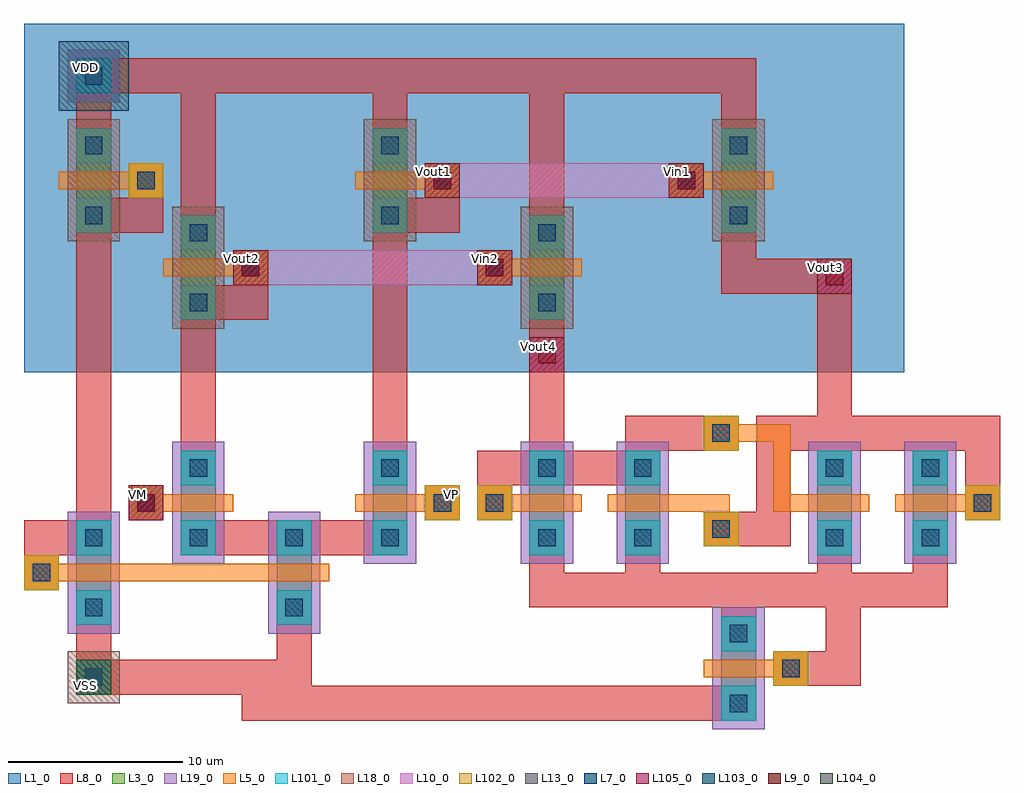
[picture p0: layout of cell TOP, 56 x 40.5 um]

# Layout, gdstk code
from math import pi, radians
import gdstk
lib = gdstk.Library(unit=1e-6, precision=1e-09)
def R(c, l, rs):  # rectangles x0, y0, x1, y1
    for r in rs: c.add(gdstk.rectangle(r[:2], r[2:], *l))
L1_0 = (1, 0)
L3_0 = (3, 0)
L5_0 = (5, 0)
L7_0 = (7, 0)
L8_0 = (8, 0)
L9_0 = (9, 0)
L10_0 = (10, 0)
L13_0 = (13, 0)
L18_0 = (18, 0)
L19_0 = (19, 0)
L101_0 = (101, 0)
L102_0 = (102, 0)
L103_0 = (103, 0)
L104_0 = (104, 0)
L105_0 = (105, 0)

pcont = lib.new_cell('pcont')
R(pcont, L5_0, [(-1,-1,1,1)])
R(pcont, L7_0, [(-0.5,-0.5,0.5,0.5)])
R(pcont, L8_0, [(-1,-1,1,1)])
R(pcont, L13_0, [(-0.5,-0.5,0.5,0.5)])
R(pcont, L102_0, [(-1,-1,1,1)])
pcont.add(gdstk.Label('pcont', (0,0), layer=13, texttype=0))

dcont = lib.new_cell('dcont')
R(dcont, L3_0, [(-1,-1,1,1)])
R(dcont, L7_0, [(-0.5,-0.5,0.5,0.5)])
R(dcont, L8_0, [(-1,-1,1,1)])
R(dcont, L13_0, [(-0.5,-0.5,0.5,0.5)])
R(dcont, L101_0, [(-1,-1,1,1)])
dcont.add(gdstk.Label('dcont', (0,0), layer=13, texttype=0))

psubcont = lib.new_cell('psubcont')
R(psubcont, L18_0, [(-1.5,-1.5,1.5,1.5)])
R(psubcont, L104_0, [(-1,-1,1,1)])
psubcont.add(gdstk.Reference(dcont, (0,0)))
psubcont.add(gdstk.Label('PScon', (0,0), layer=13, texttype=0))

nsubcont = lib.new_cell('nsubcont')
R(nsubcont, L1_0, [(-2,-2,2,2)])
R(nsubcont, L19_0, [(-1.5,-1.5,1.5,1.5)])
R(nsubcont, L103_0, [(-2,-2,2,2)])
nsubcont.add(gdstk.Reference(dcont, (0,0)))
nsubcont.add(gdstk.Label('NScont', (0,0), layer=13, texttype=0))

via = lib.new_cell('Via')
R(via, L8_0, [(-1,-1,1,1)])
R(via, L9_0, [(-0.5,-0.5,0.5,0.5)])
R(via, L10_0, [(-1,-1,1,1)])
R(via, L13_0, [(-0.5,-0.5,0.5,0.5)])
R(via, L105_0, [(-1,-1,1,1)])
via.add(gdstk.Label('via', (0,0), layer=13, texttype=0))

via_1 = lib.new_cell('Via$1')
R(via_1, L8_0, [(-1,-1,1,1)])
R(via_1, L9_0, [(-0.5,-0.5,0.5,0.5)])
R(via_1, L10_0, [(-1,-1,1,1)])
R(via_1, L13_0, [(-0.5,-0.5,0.5,0.5)])
R(via_1, L105_0, [(-1,-1,1,1)])
via_1.add(gdstk.Label('via', (0,0), layer=13, texttype=0))

top = lib.new_cell('TOP')
R(top, L1_0, [(-2,62.5,21.5,82.5), (21.5,62.5,31,82.5), (31,62.5,48.5,82.5)])
R(top, L3_0, [(38,42.5,40,48.5), (1,48,3,54), (12.5,48,14.5,54), (7,52,9,58), (18,52,20,58), (27,52,29,58), (32.5,52,34.5,58), (43.5,52,45.5,58), (49,52,51,58), (7,65.5,9,71.5), (27,65.5,29,71.5), (1,70.5,3,76.5), (18,70.5,20,76.5), (38,70.5,40,76.5)])
R(top, L18_0, [(6.5,65,9.5,72), (26.5,65,29.5,72), (0.5,70,3.5,77), (17.5,70,20.5,77), (37.5,70,40.5,77)])
R(top, L19_0, [(37.5,42,40.5,49), (0.5,47.5,3.5,54.5), (12,47.5,15,54.5), (6.5,51.5,9.5,58.5), (17.5,51.5,20.5,58.5), (26.5,51.5,29.5,58.5), (32,51.5,35,58.5), (43,51.5,46,58.5), (48.5,51.5,51.5,58.5)])
top.add(gdstk.FlexPath([(12,66.5),(9,66.5)], 2, ends="flush", simple_path=True, layer=8, datatype=0))  # L8_0
top.add(gdstk.FlexPath([(23,71.5),(20,71.5)], 2, ends="flush", simple_path=True, layer=8, datatype=0))  # L8_0
top.add(gdstk.FlexPath([(9,79.5),(19,79.5),(19,76.5)], 2, ends="flush", simple_path=True, layer=8, datatype=0))  # L8_0
top.add(gdstk.FlexPath([(44.5,58),(44.5,68),(39,68),(39,70.5)], 2, ends="flush", simple_path=True, layer=8, datatype=0))  # L8_0
top.add(gdstk.FlexPath([(39,53.5),(41,53.5),(41,59),(44.5,59),(44.5,68),(39,68),(39,70.5)], 2, ends="flush", simple_path=True, layer=8, datatype=0))  # L8_0
top.add(gdstk.FlexPath([(28,52),(28,51),(28,50)], 2, ends="flush", simple_path=True, layer=8, datatype=0))  # L8_0
top.add(gdstk.FlexPath([(33.5,52),(33.5,50)], 2, ends="flush", simple_path=True, layer=8, datatype=0))  # L8_0
top.add(gdstk.FlexPath([(3,45),(9,45)], 2, ends="flush", simple_path=True, layer=8, datatype=0))  # L8_0
top.add(gdstk.FlexPath([(14.5,43.5),(38,43.5)], 2, ends="flush", simple_path=True, layer=8, datatype=0))  # L8_0
top.add(gdstk.FlexPath([(28,65.5),(28,58)], 2, ends="flush", simple_path=True, layer=8, datatype=0))  # L8_0
top.add(gdstk.FlexPath([(20,79.5),(28,79.5),(28,71.5)], 2, ends="flush", simple_path=True, layer=8, datatype=0))  # L8_0
top.add(gdstk.FlexPath([(29,79.5),(39,79.5),(39,76.5)], 2, ends="flush", simple_path=True, layer=8, datatype=0))  # L8_0
top.add(gdstk.FlexPath([(24,57),(32.5,57),(32.5,57)], 2, ends="flush", simple_path=True, layer=8, datatype=0))  # L8_0
top.add(gdstk.FlexPath([(27,50),(40,50),(40,50)], 2, ends="flush", simple_path=True, layer=8, datatype=0))  # L8_0
top.add(gdstk.FlexPath([(45.5,59),(53,59),(53,56)], 2, ends="flush", simple_path=True, layer=8, datatype=0))  # L8_0
top.add(gdstk.FlexPath([(40,50),(51,50)], 2, ends="flush", simple_path=True, layer=8, datatype=0))  # L8_0
top.add(gdstk.FlexPath([(37,59),(32.5,59),(32.5,59)], 2, ends="flush", simple_path=True, layer=8, datatype=0))  # L8_0
top.add(gdstk.FlexPath([(44.5,52),(44.5,50)], 2, ends="flush", simple_path=True, layer=8, datatype=0))  # L8_0
top.add(gdstk.FlexPath([(50,52),(50,50)], 2, ends="flush", simple_path=True, layer=8, datatype=0))  # L8_0
top.add(gdstk.FlexPath([(9,45),(11.5,45),(11.5,43.5),(14.5,43.5)], 2, ends="flush", simple_path=True, layer=8, datatype=0))  # L8_0
top.add(gdstk.FlexPath([(39,50),(39,48)], 2, ends="flush", simple_path=True, layer=8, datatype=0))  # L8_0
top.add(gdstk.FlexPath([(45,49),(45,45.5),(43,45.5)], 2, ends="flush", simple_path=True, layer=8, datatype=0))  # L8_0
top.add(gdstk.FlexPath([(19,70.5),(19,58)], 2, ends="flush", simple_path=True, layer=8, datatype=0))  # L8_0
top.add(gdstk.FlexPath([(9,53),(18,53)], 2, ends="flush", simple_path=True, layer=8, datatype=0))  # L8_0
top.add(gdstk.FlexPath([(2,70.5),(2,54)], 2, ends="flush", simple_path=True, layer=8, datatype=0))  # L8_0
top.add(gdstk.FlexPath([(3,71.5),(6,71.5)], 2, ends="flush", simple_path=True, layer=8, datatype=0))  # L8_0
top.add(gdstk.FlexPath([(1,53),(-2,53)], 2, ends="flush", simple_path=True, layer=8, datatype=0))  # L8_0
top.add(gdstk.FlexPath([(8,65.5),(8,58)], 2, ends="flush", simple_path=True, layer=8, datatype=0))  # L8_0
top.add(gdstk.FlexPath([(13.5,48),(13.5,44.5)], 2, ends="flush", simple_path=True, layer=8, datatype=0))  # L8_0
top.add(gdstk.FlexPath([(2,78.5),(2,76.5)], 2, ends="flush", simple_path=True, layer=8, datatype=0))  # L8_0
top.add(gdstk.FlexPath([(2,48),(2,46)], 2, ends="flush", simple_path=True, layer=8, datatype=0))  # L8_0
top.add(gdstk.FlexPath([(3,79.5),(8,79.5),(8,71.5)], 2, ends="flush", simple_path=True, layer=8, datatype=0))  # L8_0
top.add(gdstk.FlexPath([(48,55),(52,55)], 1, ends="flush", simple_path=True, layer=5, datatype=0))  # L5_0
top.add(gdstk.FlexPath([(42.5,55),(46.5,55)], 1, ends="flush", simple_path=True, layer=5, datatype=0))  # L5_0
top.add(gdstk.FlexPath([(35.5,55),(38,55),(38,54)], 1, ends="flush", simple_path=True, layer=5, datatype=0))  # L5_0
top.add(gdstk.FlexPath([(38.5,59),(41.5,59),(41.5,55),(42.5,55)], 1, ends="flush", simple_path=True, layer=5, datatype=0))  # L5_0
top.add(gdstk.FlexPath([(26,68.5),(30,68.5)], 1, ends="flush", simple_path=True, layer=5, datatype=0))  # L5_0
top.add(gdstk.FlexPath([(37,73.5),(41,73.5)], 1, ends="flush", simple_path=True, layer=5, datatype=0))  # L5_0
top.add(gdstk.FlexPath([(31.5,55),(35.5,55)], 1, ends="flush", simple_path=True, layer=5, datatype=0))  # L5_0
top.add(gdstk.FlexPath([(26,55),(30,55)], 1, ends="flush", simple_path=True, layer=5, datatype=0))  # L5_0
top.add(gdstk.FlexPath([(37,45.5),(41,45.5)], 1, ends="flush", simple_path=True, layer=5, datatype=0))  # L5_0
top.add(gdstk.FlexPath([(17,55),(21,55)], 1, ends="flush", simple_path=True, layer=5, datatype=0))  # L5_0
top.add(gdstk.FlexPath([(17,73.5),(21,73.5)], 1, ends="flush", simple_path=True, layer=5, datatype=0))  # L5_0
top.add(gdstk.FlexPath([(11.5,51),(15.5,51)], 1, ends="flush", simple_path=True, layer=5, datatype=0))  # L5_0
top.add(gdstk.FlexPath([(4,51),(4,51),(11.5,51)], 1, ends="flush", simple_path=True, layer=5, datatype=0))  # L5_0
top.add(gdstk.FlexPath([(6,55),(10,55)], 1, ends="flush", simple_path=True, layer=5, datatype=0))  # L5_0
top.add(gdstk.FlexPath([(6,68.5),(10,68.5)], 1, ends="flush", simple_path=True, layer=5, datatype=0))  # L5_0
top.add(gdstk.FlexPath([(0,51),(4,51)], 1, ends="flush", simple_path=True, layer=5, datatype=0))  # L5_0
top.add(gdstk.FlexPath([(0,73.5),(4,73.5)], 1, ends="flush", simple_path=True, layer=5, datatype=0))  # L5_0
top.add(gdstk.FlexPath([(23,73.5),(35,73.5)], 2, ends="flush", simple_path=True, layer=10, datatype=0))  # L10_0
top.add(gdstk.FlexPath([(12,68.5),(24,68.5)], 2, ends="flush", simple_path=True, layer=10, datatype=0))  # L10_0
top.add(gdstk.Reference(pcont, (5,73.5), rotation=pi))
top.add(gdstk.Reference(dcont, (2,75.5), rotation=pi))
top.add(gdstk.Reference(dcont, (2,71.5), rotation=pi))
top.add(gdstk.Reference(pcont, (-1,51), rotation=pi))
top.add(gdstk.Reference(psubcont, (2,45), rotation=pi))
top.add(gdstk.Reference(dcont, (50,53), rotation=pi))
top.add(gdstk.Reference(dcont, (50,57), rotation=pi))
top.add(gdstk.Reference(pcont, (53,55), rotation=pi))
top.add(gdstk.Reference(dcont, (44.5,53), rotation=pi))
top.add(gdstk.Reference(dcont, (44.5,57), rotation=pi))
top.add(gdstk.Reference(nsubcont, (2,79.5), rotation=pi))
top.add(gdstk.Reference(dcont, (39,71.5), rotation=pi))
top.add(gdstk.Reference(via, (28,63.5), rotation=pi))
top.add(gdstk.Reference(dcont, (39,75.5), rotation=pi))
top.add(gdstk.Reference(via, (44.5,68), rotation=pi))
top.add(gdstk.Reference(pcont, (36,73.5), rotation=pi))
top.add(gdstk.Reference(pcont, (38,59), rotation=pi))
top.add(gdstk.Reference(pcont, (25,68.5), rotation=pi))
top.add(gdstk.Reference(dcont, (28,70.5), rotation=pi))
top.add(gdstk.Reference(dcont, (28,66.5), rotation=pi))
top.add(gdstk.Reference(pcont, (38,53.5), rotation=pi))
top.add(gdstk.Reference(dcont, (33.5,53), rotation=pi))
top.add(gdstk.Reference(dcont, (33.5,57), rotation=pi))
top.add(gdstk.Reference(pcont, (25,55), rotation=pi))
top.add(gdstk.Reference(dcont, (28,57), rotation=pi))
top.add(gdstk.Reference(dcont, (28,53), rotation=pi))
top.add(gdstk.Reference(pcont, (42,45.5), rotation=pi))
top.add(gdstk.Reference(dcont, (39,47.5), rotation=pi))
top.add(gdstk.Reference(dcont, (39,43.5), rotation=pi))
top.add(gdstk.Reference(dcont, (2,53), rotation=pi))
top.add(gdstk.Reference(dcont, (2,49), rotation=pi))
top.add(gdstk.Reference(pcont, (11,68.5), rotation=pi))
top.add(gdstk.Reference(dcont, (8,70.5), rotation=pi))
top.add(gdstk.Reference(dcont, (8,66.5), rotation=pi))
top.add(gdstk.Reference(pcont, (5,55), rotation=pi))
top.add(gdstk.Reference(dcont, (8,57), rotation=pi))
top.add(gdstk.Reference(dcont, (8,53), rotation=pi))
top.add(gdstk.Reference(via_1, (5,55), rotation=pi))
top.add(gdstk.Reference(dcont, (19,53), rotation=pi))
top.add(gdstk.Reference(dcont, (19,57), rotation=pi))
top.add(gdstk.Reference(pcont, (22,55), rotation=pi))
top.add(gdstk.Reference(dcont, (19,71.5), rotation=pi))
top.add(gdstk.Reference(dcont, (19,75.5), rotation=pi))
top.add(gdstk.Reference(pcont, (22,73.5), rotation=pi))
top.add(gdstk.Reference(dcont, (13.5,49), rotation=pi))
top.add(gdstk.Reference(dcont, (13.5,53), rotation=pi))
top.add(gdstk.Reference(via_1, (11,68.5), rotation=pi))
top.add(gdstk.Reference(via_1, (22,73.5), rotation=pi))
top.add(gdstk.Reference(via_1, (25,68.5), rotation=pi))
top.add(gdstk.Reference(via_1, (36,73.5), rotation=pi))
top.add(gdstk.Label('VDD', (1.5,80), layer=8, texttype=0))
top.add(gdstk.Label('VSS', (1.5,44.5), layer=8, texttype=0))
top.add(gdstk.Label('Vout2', (10.5,69), layer=10, texttype=0))
top.add(gdstk.Label('Vout1', (21.5,74), layer=10, texttype=0))
top.add(gdstk.Label('Vin1', (35.5,74), layer=10, texttype=0))
top.add(gdstk.Label('Vin2', (24.5,69), layer=10, texttype=0))
top.add(gdstk.Label('VP', (22.5,55.5), layer=10, texttype=0))
top.add(gdstk.Label('Vout3', (44,68.5), layer=10, texttype=0))
top.add(gdstk.Label('Vout4', (27.5,64), layer=10, texttype=0))
top.add(gdstk.Label('VM', (4.5,55.5), layer=10, texttype=0))

lib.write_gds('TOP.gds')
